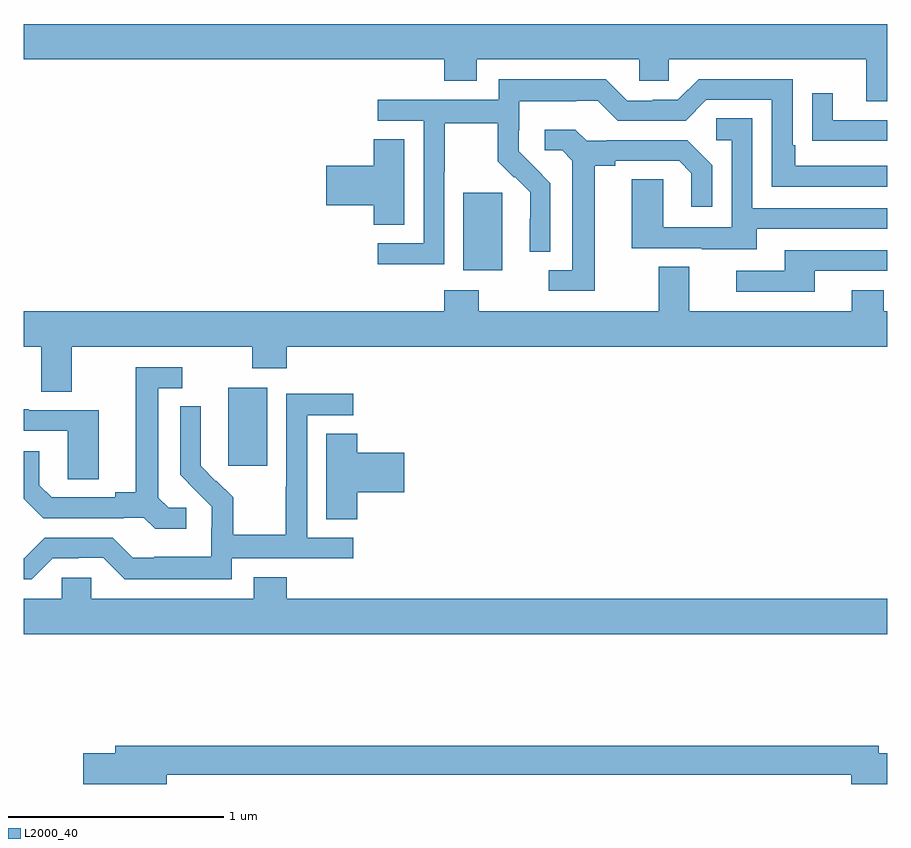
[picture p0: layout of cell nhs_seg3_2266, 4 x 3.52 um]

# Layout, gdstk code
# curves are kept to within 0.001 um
import gdstk
lib = gdstk.Library(unit=1e-6, precision=1e-09)
def R(c, l, rs):  # rectangles x0, y0, x1, y1
    for r in rs: c.add(gdstk.rectangle(r[:2], r[2:], *l))
def P(c, l, *ps):  # polygons
    for p in ps: c.add(gdstk.Polygon(p, *l))
L2000_40 = (2000, 40)

nhs_seg3_2266 = lib.new_cell('nhs_seg3_2266')
R(nhs_seg3_2266, L2000_40, [(227.948,736.329,228.127,736.69), (229.037,737.234,229.216,737.595)])
P(nhs_seg3_2266, L2000_40, [(231,738.376),(227,738.376),(227,738.212),(228.947,738.212),(228.947,738.113),(229.099,738.113),(229.099,738.212),(229.851,738.212),(229.851,738.114),(229.989,738.114),(229.989,738.212),(230.903,738.212),(230.903,738.018),(231,738.018)],
  [(228.948,737.692),(228.951,737.692),(228.951,737.916),(229.195,737.916),(229.195,737.741),(229.272,737.664),(229.275,737.667),(229.346,737.597),(229.346,737.474),(229.344,737.474),(229.344,737.32),(229.44,737.32),(229.44,737.638),(229.294,737.786),(229.294,737.883),(229.296,737.883),(229.296,738.017),(229.559,738.017),(229.559,738.021),(229.659,738.021),(229.752,737.928),(230.067,737.928),(230.163,738.024),(230.466,738.024),(230.466,737.622),(231,737.622),(231,737.718),(230.575,737.718),(230.575,737.815),(230.562,737.815),(230.562,738.12),(230.127,738.12),(230.031,738.024),(229.913,738.024),(229.913,738.021),(229.797,738.021),(229.697,738.121),(229.2,738.121),(229.2,738.024),(228.639,738.024),(228.639,737.928),(228.852,737.928),(228.852,737.361),(228.639,737.361),(228.639,737.263),(228.948,737.263)],
  [(231,737.931),(230.749,737.931),(230.749,738.055),(230.653,738.055),(230.653,737.836),(230.755,737.836),(230.755,737.835),(231,737.835)],
  [(230.395,737.427),(231,737.427),(231,737.523),(230.376,737.523),(230.376,737.939),(230.208,737.939),(230.208,737.838),(230.28,737.838),(230.28,737.433),(229.962,737.433),(229.962,737.657),(229.817,737.657),(229.817,737.337),(230.141,737.337),(230.141,737.333),(230.395,737.333)],
  [(229.645,737.72),(229.741,737.72),(229.741,737.742),(230.036,737.742),(230.093,737.685),(230.093,737.529),(230.19,737.529),(230.19,737.722),(230.074,737.838),(229.702,737.838),(229.702,737.835),(229.608,737.835),(229.556,737.887),(229.413,737.887),(229.413,737.79),(229.494,737.79),(229.541,737.743),(229.541,737.235),(229.431,737.235),(229.431,737.139),(229.645,737.139)],
  [(228.763,737.843),(228.62,737.843),(228.62,737.72),(228.402,737.72),(228.402,737.537),(228.62,737.537),(228.62,737.446),(228.763,737.446)],
  [(230.665,737.232),(231,737.232),(231,737.328),(230.525,737.328),(230.525,737.232),(230.301,737.232),(230.301,737.136),(230.665,737.136)],
  [(227.221,736.88),(228.058,736.88),(228.058,736.781),(228.218,736.781),(228.218,736.88),(231,736.88),(231,737.044),(230.985,737.044),(230.985,737.143),(230.837,737.143),(230.837,737.044),(230.083,737.044),(230.083,737.252),(229.943,737.252),(229.943,737.044),(229.107,737.044),(229.107,737.143),(228.947,737.143),(228.947,737.044),(227,737.044),(227,736.88),(227.081,736.88),(227.081,736.672),(227.221,736.672)],
  [(227.752,736.134),(227.67,736.134),(227.623,736.181),(227.623,736.689),(227.734,736.689),(227.734,736.785),(227.519,736.785),(227.519,736.205),(227.423,736.205),(227.423,736.182),(227.128,736.182),(227.071,736.239),(227.071,736.396),(227,736.396),(227,736.176),(227.09,736.086),(227.462,736.086),(227.462,736.089),(227.556,736.089),(227.608,736.037),(227.752,736.037)],
  [(227.964,735.9),(228.526,735.9),(228.526,735.996),(228.312,735.996),(228.312,736.563),(228.526,736.563),(228.526,736.662),(228.216,736.662),(228.216,736.232),(228.214,736.232),(228.214,736.009),(227.969,736.009),(227.969,736.183),(227.892,736.26),(227.889,736.257),(227.819,736.328),(227.82,736.604),(227.724,736.604),(227.724,736.286),(227.87,736.138),(227.87,736.041),(227.868,736.041),(227.868,735.907),(227.605,735.907),(227.605,735.903),(227.505,735.903),(227.412,735.996),(227.097,735.996),(227,735.9),(227,735.804),(227.037,735.804),(227.133,735.9),(227.252,735.9),(227.252,735.903),(227.367,735.903),(227.467,735.803),(227.964,735.803)],
  [(227.347,736.587),(227.023,736.587),(227.023,736.591),(227,736.591),(227,736.491),(227.202,736.491),(227.202,736.267),(227.347,736.267)],
  [(228.545,736.205),(228.763,736.205),(228.763,736.388),(228.545,736.388),(228.545,736.478),(228.401,736.478),(228.401,736.081),(228.545,736.081)],
  [(231,735.712),(228.218,735.712),(228.218,735.811),(228.065,735.811),(228.065,735.712),(227.313,735.712),(227.313,735.81),(227.175,735.81),(227.175,735.712),(227,735.712),(227,735.548),(231,735.548)],
  [(227.662,734.896),(230.834,734.896),(230.834,734.854),(231,734.854),(231,734.996),(230.962,734.996),(230.962,735.032),(227.423,735.032),(227.423,734.996),(227.274,734.996),(227.274,734.854),(227.662,734.854)])

lib.write_gds('nhs_seg3_2266.gds')
